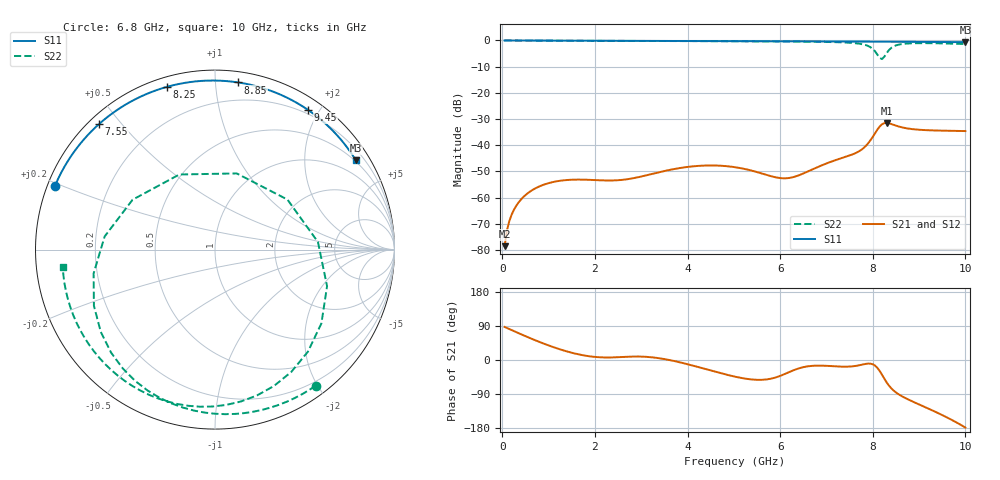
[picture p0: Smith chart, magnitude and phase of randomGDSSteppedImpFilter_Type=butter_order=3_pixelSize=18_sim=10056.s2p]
! freq	dB(S11)	phase(S11)	dB(S12)	phase(S12)
!  dB(S21)	phase(S21)	dB(S22)	phase(S22)
!S-par simulation data
#  GHz  S  DB  R 50
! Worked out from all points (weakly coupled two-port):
!   200 points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, 50 MHz to 10 GHz, reference 50 ohm
!   highest |S21| = -31.46 dB at 8.3 GHz (marker M1); lowest = -78.5 dB at 50 MHz (marker M2)
!   lowest |S11| = -0.6 dB at 10 GHz (marker M3), VSWR 27.18, Z = 23.4 + j170 ohm
!   |S11| at or under -10 dB: nowhere
!   |S22| runs from -7.1 to 0.0 dB; largest |S21 - S12| = 0
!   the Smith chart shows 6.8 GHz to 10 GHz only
!   S11 on the Smith chart (normalised r, x): 6.8 GHz: 0.02, +0.19; 7.55 GHz: 0.03, +0.44; 8.25 GHz: 0.04, +0.75; 8.85 GHz: 0.07, +1.15; 9.45 GHz: 0.15, +1.86; 10 GHz: 0.47, +3.39
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0.05  -0.00 -1.6  -78.52 87.2  -78.52 87.2  -0.00 -4.0
0.2  -0.01 -6.5  -66.56 79.0  -66.56 79.0  -0.02 -15.8
0.5  -0.02 -16.0  -59.03 62.9  -59.03 62.9  -0.05 -38.9
1.1  -0.04 -35.0  -54.02 34.1  -54.02 34.1  -0.10 -82.8
1.75  -0.07 -55.1  -53.13 12.4  -53.13 12.4  -0.14 -125.8
2.55  -0.10 -79.0  -53.28 7.7  -53.28 7.7  -0.17 -173.6
3.4  -0.13 -103.3  -50.24 4.5  -50.24 4.5  -0.21 138.2
4.25  -0.17 -127.1  -47.85 -19.3  -47.85 -19.3  -0.26 89.8
5.05  -0.22 -149.4  -48.44 -44.7  -48.44 -44.7  -0.30 43.7
5.85  -0.28 -172.4  -52.02 -47.9  -52.02 -47.9  -0.36 -1.6
6.7  -0.35 161.5  -49.20 -15.4  -49.20 -15.4  -0.48 -48.0
6.8  -0.36 158.3  -48.41 -14.8  -48.41 -14.8  -0.51 -53.5
7.55  -0.43 132.8  -43.58 -16.9  -43.58 -16.9  -0.93 -101.4
8  -0.47 116.2  -36.77 -11.3  -36.77 -11.3  -3.23 -168.8
8.15  -0.48 110.4  -32.83 -29.0  -32.83 -29.0  -6.68 115.4
8.25  -0.49 106.5  -31.54 -49.4  -31.54 -49.4  -6.19 34.6
8.3  -0.49 104.6  -31.46 -59.2  -31.46 -59.2  -4.81 4.2
8.35  -0.50 102.6  -31.62 -67.7  -31.62 -67.7  -3.65 -18.1
8.55  -0.51 94.5  -32.79 -89.9  -32.79 -89.9  -1.64 -66.7
8.85  -0.53 82.1  -33.84 -109.0  -33.84 -109.0  -1.08 -99.8
9.45  -0.58 56.4  -34.41 -142.4  -34.41 -142.4  -1.10 -139.8
10  -0.64 32.3  -34.59 -178.5  -34.59 -178.5  -1.37 -173.7
